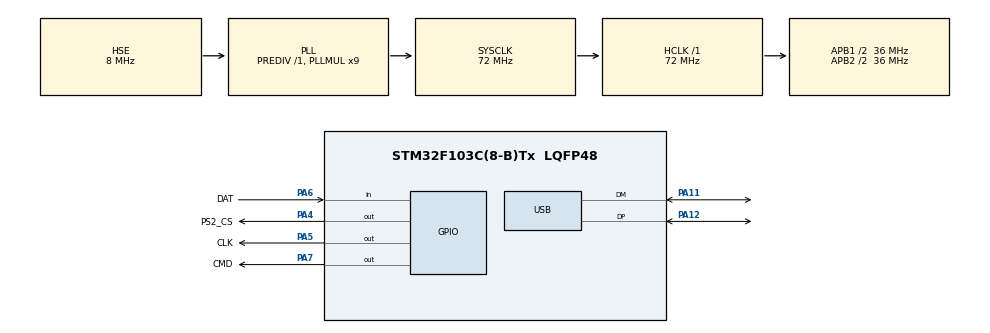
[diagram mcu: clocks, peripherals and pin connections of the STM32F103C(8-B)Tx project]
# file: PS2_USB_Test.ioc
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Mcu.Family=STM32F1
Mcu.Name=STM32F103C(8-B)Tx
Mcu.Package=LQFP48
NVIC.PriorityGroup=NVIC_PRIORITYGROUP_4
NVIC.TIM2_IRQn=true\:10\:0\:true\:false\:true\:true\:true\:true
NVIC.USB_LP_CAN1_RX0_IRQn=true\:0\:0\:false\:false\:true\:false\:true\:true
PA11.Mode=Device
PA11.Signal=USB_DM
PA12.Mode=Device
PA12.Signal=USB_DP
PA13.Mode=Serial_Wire
PA13.Signal=SYS_JTMS-SWDIO
PA14.Mode=Serial_Wire
PA14.Signal=SYS_JTCK-SWCLK
PA4.GPIO_Label=PS2_CS
PA4.PinState=GPIO_PIN_SET
PA4.Signal=GPIO_Output
PA5.GPIO_Label=CLK
PA5.Signal=GPIO_Output
PA6.GPIO_Label=DAT
PA6.Signal=GPIO_Input
PA7.GPIO_Label=CMD
PA7.Signal=GPIO_Output
PD0-OSC_IN.Mode=HSE-External-Oscillator
PD0-OSC_IN.Signal=RCC_OSC_IN
PD1-OSC_OUT.Mode=HSE-External-Oscillator
PD1-OSC_OUT.Signal=RCC_OSC_OUT
ProjectManager.HeapSize=0x200
ProjectManager.StackSize=0x400
ProjectManager.TargetToolchain=MDK-ARM V5.32
RCC.AHBFreq_Value=72000000
RCC.APB1CLKDivider=RCC_HCLK_DIV2
RCC.APB1Freq_Value=36000000
RCC.APB1TimFreq_Value=72000000
RCC.APB2CLKDivider=RCC_HCLK_DIV2
RCC.APB2Freq_Value=36000000
RCC.APB2TimFreq_Value=72000000
RCC.HCLKFreq_Value=72000000
RCC.PLLMUL=RCC_PLL_MUL9
RCC.SYSCLKFreq_VALUE=72000000
RCC.SYSCLKSource=RCC_SYSCLKSOURCE_PLLCLK
RCC.USBFreq_Value=48000000
RCC.USBPrescaler=RCC_USBCLKSOURCE_PLL_DIV1_5
TIM2.Channel-Output\ Compare1\ No\ Output=TIM_CHANNEL_1
TIM2.Period=1
TIM2.Prescaler=71
USB_DEVICE.CLASS_NAME_FS=HID
USB_DEVICE.PRODUCT_STRING_HID_FS=PS2_Device
USB_DEVICE.VirtualMode=Hid
USB_DEVICE.VirtualModeFS=Hid_FS
VP_TIM2_VS_ClockSourceINT.Mode=Internal
VP_TIM2_VS_no_output1.Mode=Output Compare1 No Output
VP_USB_DEVICE_VS_USB_DEVICE_HID_FS.Mode=HID_FS
board=custom

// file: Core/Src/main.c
/* USER CODE BEGIN Header */
/**
 ******************************************************************************
 * @file           : main.c
 * @brief          : Main program body
 ******************************************************************************
 * @attention
 *
 * Copyright (c) 2024 STMicroelectronics.
 * All rights reserved.
 *
 * This software is licensed under terms that can be found in the LICENSE file
 * in the root directory of this software component.
 * If no LICENSE file comes with this software, it is provided AS-IS.
 *
 ******************************************************************************
 */
/* USER CODE END Header */
#include "main.h"
#include "tim.h"
#include "usb_device.h"
#include "gpio.h"

/* USER CODE BEGIN Includes */

#include "usbd_hid.h"

#include "PS2_SoftwareSim.h"

/* USER CODE END Includes */

/* USER CODE BEGIN PV */
PS2_Controller PS2;
/* USER CODE END PV */

void SystemClock_Config(void);
/* USER CODE BEGIN PFP */
void PS2toUSB();
/* USER CODE END PFP */

/* USER CODE BEGIN 0 */
extern USBD_HandleTypeDef hUsbDeviceFS;
// uint8_t i = 0;
uint8_t USB_Upload_data[6] = {0x00, 0x00, 0x00, 0x00, 0x00, 0x00};

/* USER CODE END 0 */

int main(void)
{

  /* MCU Configuration--------------------------------------------------------*/

  /* Reset of all peripherals, Initializes the Flash interface and the Systick. */
  HAL_Init();

  /* Configure the system clock */
  SystemClock_Config();

  /* Initialize all configured peripherals */
  MX_GPIO_Init();
  MX_USB_DEVICE_Init();
  MX_TIM2_Init();

  /* Infinite loop */
  while (1)
  {

    /* USER CODE BEGIN 3 */
    PS2_GetData(&PS2);

    PS2toUSB();
    USBD_HID_SendReport(&hUsbDeviceFS, USB_Upload_data, sizeof(USB_Upload_data));
    HAL_Delay(10);
  }
  /* USER CODE END 3 */
}

void SystemClock_Config(void)
{
  RCC_OscInitTypeDef RCC_OscInitStruct = {0};
  RCC_ClkInitTypeDef RCC_ClkInitStruct = {0};
  RCC_PeriphCLKInitTypeDef PeriphClkInit = {0};

  /** Initializes the RCC Oscillators according to the specified parameters
   * in the RCC_OscInitTypeDef structure.
   */
  RCC_OscInitStruct.OscillatorType = RCC_OSCILLATORTYPE_HSE;
  RCC_OscInitStruct.HSEState = RCC_HSE_ON;
  RCC_OscInitStruct.HSEPredivValue = RCC_HSE_PREDIV_DIV1;
  RCC_OscInitStruct.HSIState = RCC_HSI_ON;
  RCC_OscInitStruct.PLL.PLLState = RCC_PLL_ON;
  RCC_OscInitStruct.PLL.PLLSource = RCC_PLLSOURCE_HSE;
  RCC_OscInitStruct.PLL.PLLMUL = RCC_PLL_MUL9;
  if (HAL_RCC_OscConfig(&RCC_OscInitStruct) != HAL_OK)
  {
    Error_Handler();
  }

  /** Initializes the CPU, AHB and APB buses clocks
   */
  RCC_ClkInitStruct.ClockType = RCC_CLOCKTYPE_HCLK | RCC_CLOCKTYPE_SYSCLK | RCC_CLOCKTYPE_PCLK1 | RCC_CLOCKTYPE_PCLK2;
  RCC_ClkInitStruct.SYSCLKSource = RCC_SYSCLKSOURCE_PLLCLK;
  RCC_ClkInitStruct.AHBCLKDivider = RCC_SYSCLK_DIV1;
  RCC_ClkInitStruct.APB1CLKDivider = RCC_HCLK_DIV2;
  RCC_ClkInitStruct.APB2CLKDivider = RCC_HCLK_DIV2;

  if (HAL_RCC_ClockConfig(&RCC_ClkInitStruct, FLASH_LATENCY_2) != HAL_OK)
  {
    Error_Handler();
  }
  PeriphClkInit.PeriphClockSelection = RCC_PERIPHCLK_USB;
  PeriphClkInit.UsbClockSelection = RCC_USBCLKSOURCE_PLL_DIV1_5;
  if (HAL_RCCEx_PeriphCLKConfig(&PeriphClkInit) != HAL_OK)
  {
    Error_Handler();
  }
}

/* USER CODE BEGIN 4 */
void PS2toUSB()
{
  USB_Upload_data[4] = (PS2.UP) + (PS2.DOWN << 1) + (PS2.LEFT << 2) + (PS2.RIGHT << 3) + (PS2.Y << 4) + (PS2.A << 5) + (PS2.X << 6) + (PS2.B << 7);
  USB_Upload_data[5] = (PS2.L1) + (PS2.R1 << 1) + (PS2.L2 << 2) + (PS2.R2 << 3) + (PS2.L3 << 4) + (PS2.R3 << 5) + (PS2.SELECT << 6) + (PS2.START << 7);
  USB_Upload_data[0] = PS2.PSS_LX;
  USB_Upload_data[1] = PS2.PSS_LY;
  USB_Upload_data[2] = PS2.PSS_RX;
  USB_Upload_data[3] = PS2.PSS_RY;
}
/* USER CODE END 4 */

void Error_Handler(void)
{
  __disable_irq();
  while (1)
  {
  }
}
